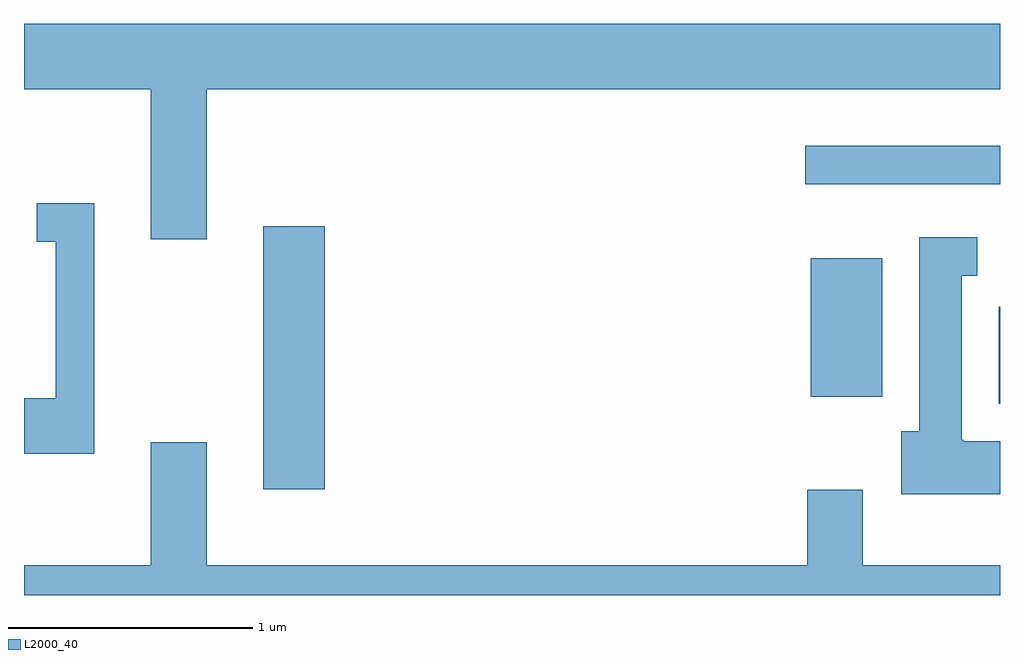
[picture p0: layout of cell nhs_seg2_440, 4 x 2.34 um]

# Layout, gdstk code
import gdstk
lib = gdstk.Library(unit=1e-6, precision=1e-09)
def R(c, l, rs):  # rectangles x0, y0, x1, y1
    for r in rs: c.add(gdstk.rectangle(r[:2], r[2:], *l))
def P(c, l, *ps):  # polygons
    for p in ps: c.add(gdstk.Polygon(p, *l))
L2000_40 = (2000, 40)

nhs_seg2_440 = lib.new_cell('nhs_seg2_440')
R(nhs_seg2_440, L2000_40, [(198.591,1042.236,198.844,1043.314), (201.606,1042.586,201.611,1042.984), (200.836,1042.616,201.129,1043.184), (200.813,1043.486,201.611,1043.644)])
P(nhs_seg2_440, L2000_40, [(198.359,1043.876),(201.611,1043.876),(201.611,1044.144),(197.611,1044.144),(197.611,1043.876),(198.131,1043.876),(198.131,1043.261),(198.359,1043.261)],
  [(197.899,1043.409),(197.663,1043.409),(197.663,1043.251),(197.741,1043.251),(197.741,1042.609),(197.611,1042.609),(197.611,1042.381),(197.899,1042.381)],
  [(201.611,1042.434),(201.46,1042.434),(201.46,1042.44),(201.454,1042.44),(201.454,1043.111),(201.518,1043.111),(201.518,1043.269),(201.281,1043.269),(201.281,1042.474),(201.206,1042.474),(201.206,1042.216),(201.611,1042.216)],
  [(201.611,1041.924),(201.049,1041.924),(201.049,1042.234),(200.821,1042.234),(200.821,1041.924),(198.359,1041.924),(198.359,1042.429),(198.131,1042.429),(198.131,1041.924),(197.611,1041.924),(197.611,1041.802),(201.611,1041.802)])

lib.write_gds('nhs_seg2_440.gds')
